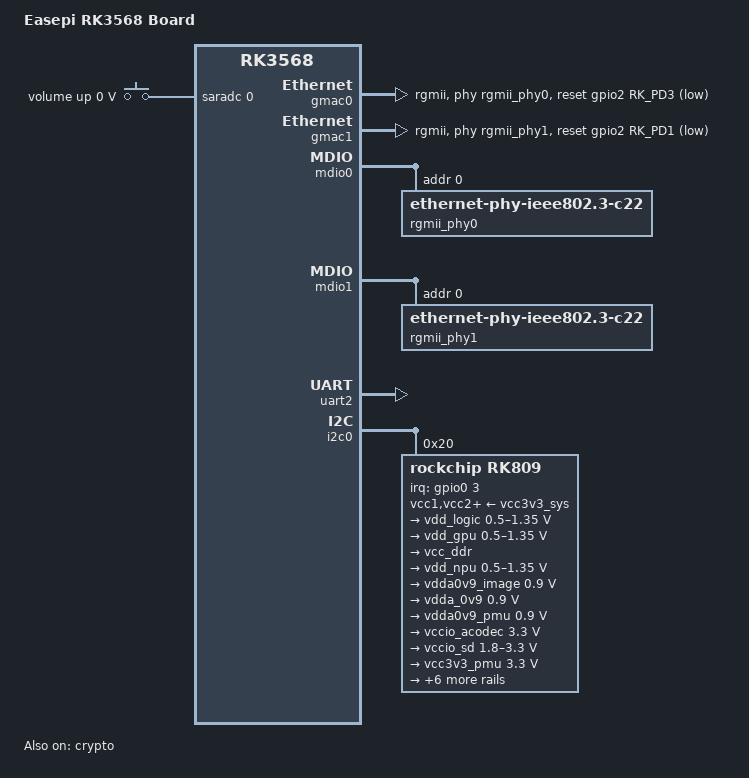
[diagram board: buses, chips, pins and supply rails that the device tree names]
/*
 * SPDX-License-Identifier:     GPL-2.0+
 *
 * (C) Copyright 2020 Rockchip Electronics Co., Ltd
 */

/dts-v1/;
#include "rk3568.dtsi"
#include <dt-bindings/input/input.h>

/ {
	model = "Easepi RK3568 Board";
	compatible = "linkease,rk3568-demo", "rockchip,rk3568";

	adc-keys {
		compatible = "adc-keys";
		io-channels = <&saradc 0>;
		io-channel-names = "buttons";
		keyup-threshold-microvolt = <1800000>;
		u-boot,dm-spl;
		status = "okay";

		volumeup-key {
			u-boot,dm-spl;
			linux,code = <KEY_VOLUMEUP>;
			label = "volume up";
			press-threshold-microvolt = <9>;
		};
	};
};

&gmac0 {
	snps,reset-gpio = <&gpio2 RK_PD3 GPIO_ACTIVE_LOW>;
	snps,reset-active-low;
	/* Reset time is 20ms, 100ms for rtl8211f */
	snps,reset-delays-us = <0 20000 100000>;

	phy-mode = "rgmii";
	clock_in_out = "output";

	assigned-clocks = <&cru SCLK_GMAC0_RX_TX>, <&cru SCLK_GMAC0>;
	assigned-clock-parents = <&cru SCLK_GMAC0_RGMII_SPEED>, <&cru CLK_MAC0_2TOP>;
	assigned-clock-rates = <0>, <125000000>;

	pinctrl-names = "default";
	pinctrl-0 = <&gmac0_miim
		     &gmac0_tx_bus2
		     &gmac0_rx_bus2
		     &gmac0_rgmii_clk
		     &gmac0_rgmii_bus>;

	tx_delay = <0x35>;
	rx_delay = <0x2b>;

	phy-handle = <&rgmii_phy0>;
	status = "okay";
};

&gmac1 {
	snps,reset-gpio = <&gpio2 RK_PD1 GPIO_ACTIVE_LOW>;
	snps,reset-active-low;
	/* Reset time is 20ms, 100ms for rtl8211f */
	snps,reset-delays-us = <0 20000 100000>;

	phy-mode = "rgmii";
	clock_in_out = "output";

	assigned-clocks = <&cru SCLK_GMAC1_RX_TX>, <&cru SCLK_GMAC1>;
	assigned-clock-parents = <&cru SCLK_GMAC1_RGMII_SPEED>, <&cru CLK_MAC1_2TOP>;
	assigned-clock-rates = <0>, <125000000>;

	pinctrl-names = "default";
	pinctrl-0 = <&gmac1m1_miim
		     &gmac1m1_tx_bus2
		     &gmac1m1_rx_bus2
		     &gmac1m1_rgmii_clk
		     &gmac1m1_rgmii_bus>;

	tx_delay = <0x42>;
	rx_delay = <0x27>;

	phy-handle = <&rgmii_phy1>;
	status = "okay";
};

&mdio0 {
	rgmii_phy0: phy@0 {
		compatible = "ethernet-phy-ieee802.3-c22";
		reg = <0x0>;
	};
};

&mdio1 {
	rgmii_phy1: phy@0 {
		compatible = "ethernet-phy-ieee802.3-c22";
		reg = <0x0>;
	};
};

&crypto {
	status = "okay";
};

&uart2 {
	status = "okay";
};

&pinctrl {
	pmic {
		pmic_int: pmic_int {
			rockchip,pins =
				<0 RK_PA3 RK_FUNC_GPIO &pcfg_pull_up>;
		};

		soc_slppin_gpio: soc_slppin_gpio {
			rockchip,pins =
				<0 RK_PA2 RK_FUNC_GPIO &pcfg_output_low_pull_down>;
		};

		soc_slppin_slp: soc_slppin_slp {
			rockchip,pins =
				<0 RK_PA2 RK_FUNC_1 &pcfg_pull_up>;
		};

		soc_slppin_rst: soc_slppin_rst {
			rockchip,pins =
				<0 RK_PA2 RK_FUNC_2 &pcfg_pull_none>;
		};

		spk_ctl_gpio: spk_ctl_gpio {
			rockchip,pins = <3 RK_PC5 RK_FUNC_GPIO &pcfg_pull_up>;
		};
	};
};

&i2c0 {
	status = "okay";

	rk809: pmic@20 {
		compatible = "rockchip,rk809";
		reg = <0x20>;
		interrupt-parent = <&gpio0>;
		interrupts = <3 IRQ_TYPE_LEVEL_LOW>;

		pinctrl-names = "default";
		pinctrl-0 = <&pmic_int>;

		rockchip,system-power-controller;
		wakeup-source;
		#clock-cells = <1>;
		clock-output-names = "rk808-clkout1", "rk808-clkout2";
		//fb-inner-reg-idxs = <2>;
		/* 1: rst regs (default in codes), 0: rst the pmic */
		pmic-reset-func = <0>;
		/* not save the PMIC_POWER_EN register in uboot */
		not-save-power-en = <1>;

		vcc1-supply = <&vcc3v3_sys>;
		vcc2-supply = <&vcc3v3_sys>;
		vcc3-supply = <&vcc3v3_sys>;
		vcc4-supply = <&vcc3v3_sys>;
		vcc5-supply = <&vcc3v3_sys>;
		vcc6-supply = <&vcc3v3_sys>;
		vcc7-supply = <&vcc3v3_sys>;
		vcc8-supply = <&vcc3v3_sys>;
		vcc9-supply = <&vcc3v3_sys>;

		status = "okay";

		pwrkey {
			status = "disabled";
		};

		regulators {
			vdd_logic: DCDC_REG1 {
				regulator-always-on;
				regulator-boot-on;
				regulator-min-microvolt = <500000>;
				regulator-max-microvolt = <1350000>;
				regulator-init-microvolt = <900000>;
				regulator-ramp-delay = <6001>;
				regulator-initial-mode = <0x2>;
				regulator-name = "vdd_logic";
				regulator-state-mem {
					regulator-off-in-suspend;
				};
			};

			vdd_gpu: DCDC_REG2 {
				regulator-always-on;
				regulator-boot-on;
				regulator-min-microvolt = <500000>;
				regulator-max-microvolt = <1350000>;
				regulator-init-microvolt = <900000>;
				regulator-ramp-delay = <6001>;
				regulator-initial-mode = <0x2>;
				regulator-name = "vdd_gpu";
				regulator-state-mem {
					regulator-off-in-suspend;
				};
			};

			vcc_ddr: DCDC_REG3 {
				regulator-always-on;
				regulator-boot-on;
				regulator-initial-mode = <0x2>;
				regulator-name = "vcc_ddr";
				regulator-state-mem {
					regulator-on-in-suspend;
				};
			};

			vdd_npu: DCDC_REG4 {
				regulator-always-on;
				regulator-boot-on;
				regulator-min-microvolt = <500000>;
				regulator-max-microvolt = <1350000>;
				regulator-init-microvolt = <900000>;
				regulator-ramp-delay = <6001>;
				regulator-initial-mode = <0x2>;
				regulator-name = "vdd_npu";
				regulator-state-mem {
					regulator-off-in-suspend;
				};
			};

			vdda0v9_image: LDO_REG1 {
				regulator-min-microvolt = <900000>;
				regulator-max-microvolt = <900000>;
				regulator-name = "vdda0v9_image";
				regulator-state-mem {
					regulator-off-in-suspend;
				};
			};

			vdda_0v9: LDO_REG2 {
				regulator-always-on;
				regulator-boot-on;
				regulator-min-microvolt = <900000>;
				regulator-max-microvolt = <900000>;
				regulator-name = "vdda_0v9";
				regulator-state-mem {
					regulator-off-in-suspend;
				};
			};

			vdda0v9_pmu: LDO_REG3 {
				regulator-always-on;
				regulator-boot-on;
				regulator-min-microvolt = <900000>;
				regulator-max-microvolt = <900000>;
				regulator-name = "vdda0v9_pmu";
				regulator-state-mem {
					regulator-on-in-suspend;
					regulator-suspend-microvolt = <900000>;
				};
			};

			vccio_acodec: LDO_REG4 {
				regulator-always-on;
				regulator-boot-on;
				regulator-min-microvolt = <3300000>;
				regulator-max-microvolt = <3300000>;
				regulator-name = "vccio_acodec";
				regulator-state-mem {
					regulator-off-in-suspend;
				};
			};

			vccio_sd: LDO_REG5 {
				regulator-always-on;
				regulator-boot-on;
				regulator-min-microvolt = <1800000>;
				regulator-max-microvolt = <3300000>;
				regulator-name = "vccio_sd";
				regulator-state-mem {
					regulator-off-in-suspend;
				};
			};

			vcc3v3_pmu: LDO_REG6 {
				regulator-always-on;
				regulator-boot-on;
				regulator-min-microvolt = <3300000>;
				regulator-max-microvolt = <3300000>;
				regulator-name = "vcc3v3_pmu";
				regulator-state-mem {
					regulator-on-in-suspend;
					regulator-suspend-microvolt = <3300000>;
				};
			};

			vcca_1v8: LDO_REG7 {
				regulator-always-on;
				regulator-boot-on;
				regulator-min-microvolt = <1800000>;
				regulator-max-microvolt = <1800000>;
				regulator-name = "vcca_1v8";
				regulator-state-mem {
					regulator-off-in-suspend;
				};
			};

			vcca1v8_pmu: LDO_REG8 {
				regulator-always-on;
				regulator-boot-on;
				regulator-min-microvolt = <1800000>;
				regulator-max-microvolt = <1800000>;
				regulator-name = "vcca1v8_pmu";
				regulator-state-mem {
					regulator-on-in-suspend;
					regulator-suspend-microvolt = <1800000>;
				};
			};

			vcca1v8_image: LDO_REG9 {
				regulator-min-microvolt = <1800000>;
				regulator-max-microvolt = <1800000>;
				regulator-name = "vcca1v8_image";
				regulator-state-mem {
					regulator-off-in-suspend;
				};
			};

			vcc_1v8: DCDC_REG5 {
				regulator-always-on;
				regulator-boot-on;
				regulator-min-microvolt = <1800000>;
				regulator-max-microvolt = <1800000>;
				regulator-name = "vcc_1v8";
				regulator-state-mem {
					regulator-off-in-suspend;
				};
			};

			vcc_3v3: SWITCH_REG1 {
				regulator-always-on;
				regulator-boot-on;
				regulator-name = "vcc_3v3";
				regulator-state-mem {
					regulator-off-in-suspend;
				};
			};

			vcc3v3_sd: SWITCH_REG2 {
				regulator-always-on;
				regulator-boot-on;
				regulator-name = "vcc3v3_sd";
				regulator-state-mem {
					regulator-off-in-suspend;
				};
			};
		};

		rtc {
			status = "okay";
		};
	};
};
